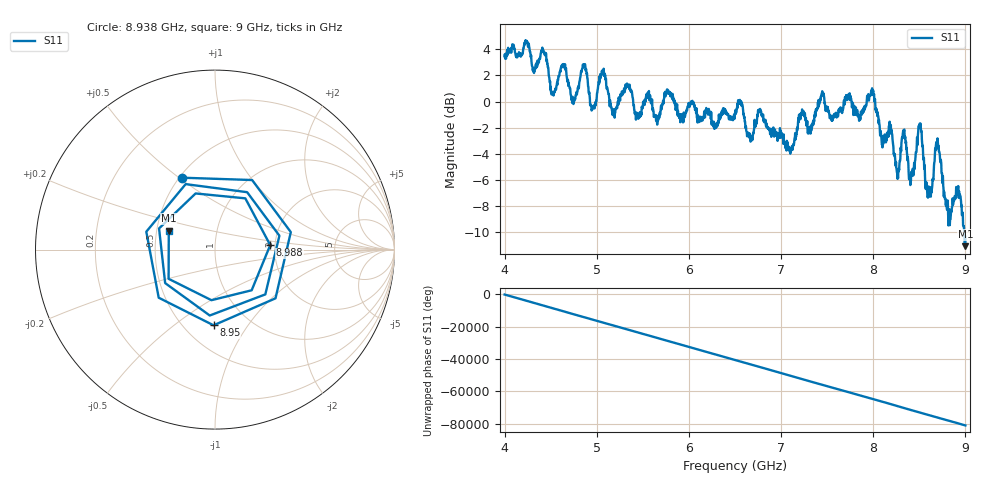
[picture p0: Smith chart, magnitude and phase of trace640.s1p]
! Created with skrf 1.8.0 (http://scikit-rf.org).
# Hz S RI R 50.0
!freq ReS11 ImS11
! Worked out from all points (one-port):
!   1601 points, 4 GHz to 9 GHz, reference 50 ohm
!   lowest |S11| = -11.1 dB at 9 GHz (marker M1), VSWR 1.77, Z = 29 + j6.67 ohm
!   |S11| at or under -10 dB: 8.986667 GHz to end of sweep
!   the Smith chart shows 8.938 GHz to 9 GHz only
!   S11 on the Smith chart (normalised r, x): 8.938 GHz: 0.52, +0.51; 8.95 GHz: 0.69, -0.71; 8.988 GHz: 1.89, +0.10; 9 GHz: 0.58, +0.13
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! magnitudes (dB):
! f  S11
! 4 GHz  3.5
! 4.425 GHz  3.8
! 4.522 GHz  0.7
! 4.625 GHz  2.8
! 4.741 GHz  0.3
! 4.862 GHz  2.7
! 4.953 GHz  -0.6
! 5.062 GHz  2.1
! 5.175 GHz  -0.6
! 5.25 GHz  0.3
! 5.875 GHz  -0.7
! 6.5 GHz  -1.0
! 7.125 GHz  -3.7
! 7.444 GHz  0.7
! 7.75 GHz  0.3
! 7.994 GHz  0.7
! 8.256 GHz  -5.4
! 8.331 GHz  -2.5
! 8.375 GHz  -4.3
! 8.416 GHz  -5.5
! 8.509 GHz  -2.0
! 8.591 GHz  -7.3
! 8.697 GHz  -2.8
! 8.812 GHz  -8.4
! 8.938 GHz  -7.1
! 8.95 GHz  -7.5
! 8.988 GHz  -10.2
! 9 GHz  -11.1
